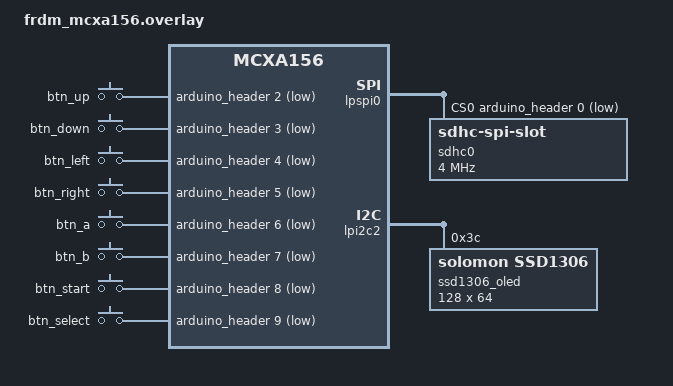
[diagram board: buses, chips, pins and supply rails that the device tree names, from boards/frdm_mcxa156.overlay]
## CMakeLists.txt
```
cmake_minimum_required(VERSION 3.28.0)
find_package(Zephyr REQUIRED HINTS $ENV{ZEPHYR_BASE})
project(gb_player)

target_include_directories(app PRIVATE ${CMAKE_CURRENT_SOURCE_DIR}/../src)
target_sources(app PRIVATE
	src/main.c
	src/menu.c
	src/rom_loader.c
	../src/gb.c
	../src/gb_cpu.c
	../src/gb_mbc.c
	../src/gb_ppu.c
)
```

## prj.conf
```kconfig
# Display
CONFIG_DISPLAY=y
CONFIG_SSD1306=y
CONFIG_I2C=y
CONFIG_GPIO=y
CONFIG_SPI=y

# Storage: the ROM menu reads cartridges off an SD card.
CONFIG_DISK_ACCESS=y
CONFIG_FAT_FILESYSTEM_ELM=y
CONFIG_FS_FATFS_LFN=y
CONFIG_FILE_SYSTEM=y
CONFIG_SDHC=y

# Buttons come from the devicetree, not from hardcoded pins.
CONFIG_INPUT=y
CONFIG_INPUT_GPIO_KEYS=y

# Console for diagnostics over the debug UART.
CONFIG_PRINTK=y
CONFIG_SERIAL=y
CONFIG_LOG=y
CONFIG_LOG_MODE_IMMEDIATE=y

# The emulator needs a decent heap for a ROM plus the framebuffer.
CONFIG_HEAP_MEM_POOL_SIZE=65536
CONFIG_MAIN_STACK_SIZE=16384

# FATFS needs at least as many volumes as mounted filesystems.
CONFIG_FS_FATFS_NUM_FILES=8

# Logging timestamps need a system clock; without one the timestamp hook is
# never installed and the first log call jumps through a null pointer.
CONFIG_SYS_CLOCK_EXISTS=y
```

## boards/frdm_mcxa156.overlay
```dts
/*
 * Board wiring for the Game Boy player on the FRDM-MCXA156.
 *
 * The panel is an SSD1306 on LPI2C2, and the five buttons are on the Arduino
 * header's digital pins. Nothing here is emulator-specific: the application
 * discovers the panel through zephyr,display and the buttons through the input
 * subsystem, so the same firmware runs on any board with an equivalent overlay.
 */

/ {
	chosen {
		zephyr,display = &ssd1306_oled;
	};

	buttons {
		compatible = "gpio-keys";

		btn_up: btn_up {
			gpios = <&arduino_header 2 GPIO_ACTIVE_LOW>;
			zephyr,code = <INPUT_KEY_UP>;
		};
		btn_down: btn_down {
			gpios = <&arduino_header 3 GPIO_ACTIVE_LOW>;
			zephyr,code = <INPUT_KEY_DOWN>;
		};
		btn_left: btn_left {
			gpios = <&arduino_header 4 GPIO_ACTIVE_LOW>;
			zephyr,code = <INPUT_KEY_LEFT>;
		};
		btn_right: btn_right {
			gpios = <&arduino_header 5 GPIO_ACTIVE_LOW>;
			zephyr,code = <INPUT_KEY_RIGHT>;
		};
		btn_a: btn_a {
			gpios = <&arduino_header 6 GPIO_ACTIVE_LOW>;
			zephyr,code = <INPUT_KEY_ENTER>;
		};
		btn_b: btn_b {
			gpios = <&arduino_header 7 GPIO_ACTIVE_LOW>;
			zephyr,code = <INPUT_KEY_BACKSPACE>;
		};
		btn_start: btn_start {
			gpios = <&arduino_header 8 GPIO_ACTIVE_LOW>;
			zephyr,code = <INPUT_KEY_SPACE>;
		};
		btn_select: btn_select {
			gpios = <&arduino_header 9 GPIO_ACTIVE_LOW>;
			zephyr,code = <INPUT_KEY_ESC>;
		};
	};
};

/*
 * The FRDM-MCXA156 has no card slot, so one is declared on LPSPI0, which is
 * brought out on the Arduino header. Without a disk node in the devicetree the
 * FAT filesystem has no volumes at all (FF_VOLUMES resolves to zero and fatfs
 * refuses to compile), so this is required, not optional.
 */
&lpspi0 {
	status = "okay";
	cs-gpios = <&arduino_header 0 GPIO_ACTIVE_LOW>;

	sdhc0: sdhc@0 {
		compatible = "zephyr,sdhc-spi-slot";
		reg = <0>;
		spi-max-frequency = <4000000>;
		status = "okay";

		/* The disk-name lives on the child node; fatfs derives its volume
		 * table from every zephyr,sdmmc-disk in the tree. */
		mmc0: mmc {
			compatible = "zephyr,sdmmc-disk";
			disk-name = "SD";
			status = "okay";
		};
	};
};

&lpi2c2 {
	status = "okay";

	ssd1306_oled: ssd1306@3c {
		compatible = "solomon,ssd1306";
		reg = <0x3c>;
		width = <128>;
		height = <64>;
		segment-offset = <0>;
		page-offset = <0>;
		display-offset = <0>;
		multiplex-ratio = <63>;
		segment-remap;
		com-invdir;
		prechargep = <0x22>;
	};
};
```

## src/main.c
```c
/*
 * The Game Boy player.
 *
 * Two screens: a cartridge menu fed from the SD card, and the emulator itself
 * drawing to the panel. Buttons come from the devicetree's GPIO keys, so the
 * same firmware works on any board that declares them.
 *
 * The panel is 128x64, which is smaller than the Game Boy's 160x144. Rather than
 * squeeze the whole screen down, the emulator is shown as a 128x128 crop that
 * scrolls vertically, because that keeps the pixels square and readable. The
 * menu explains this rather than leaving it a mystery.
 */

#include <zephyr/kernel.h>
#include <zephyr/device.h>
#include <zephyr/drivers/display.h>
#include <zephyr/drivers/gpio.h>
#include <zephyr/input/input.h>
#include <zephyr/logging/log.h>
#include <string.h>
#include <stdio.h>

#include "gb.h"
#include "menu.h"
#include "rom_loader.h"

LOG_MODULE_REGISTER(gb_player, LOG_LEVEL_INF);

#define PANEL_W 128
#define PANEL_H 64

/* The display layer wants the panel's own page format: one byte per eight
 * vertical pixels. This buffer is the 1bpp image before that conversion. */
static uint8_t canvas[PANEL_W / 8 * PANEL_H];

/* The emulator's 160x144 RGB888 output. */
static const uint8_t *gb_fb;

static Menu menu;
static GB *gb;
static uint8_t *rom;
static size_t rom_size;

static enum {
	SCREEN_MENU,
	SCREEN_RUNNING,
} screen = SCREEN_MENU;

/* Button state, in the emulator's layout. */
static uint8_t buttons;

static const struct device *display;

/* --- panel output ------------------------------------------------------ */

/*
 * Converts the 1bpp canvas to the SSD1306's page layout and pushes it. The
 * controller wants one byte per eight vertical pixels with the top pixel in bit
 * 0, which is a transpose of the canvas.
 */
static int panel_show(void)
{
	uint8_t page_buf[PANEL_W * (PANEL_H / 8)];
	int ret;

	for (int page = 0; page < PANEL_H / 8; page++) {
		for (int x = 0; x < PANEL_W; x++) {
			uint8_t bits = 0;

			for (int bit = 0; bit < 8; bit++) {
				int y = page * 8 + bit;
				size_t idx = (size_t)y * (PANEL_W / 8) + (x / 8);
				uint8_t mask = 0x80 >> (x & 7);

				if (canvas[idx] & mask) {
					bits |= (1 << bit);
				}
			}
			page_buf[page * PANEL_W + x] = bits;
		}
	}

	struct display_buffer_descriptor desc = {
		.buf_size = sizeof(page_buf),
		.width = PANEL_W,
		.height = PANEL_H,
		.pitch = PANEL_W,
	};

	ret = display_write(display, 0, 0, &desc, page_buf);
	return ret;
}

/*
 * Draws the emulator's framebuffer onto the panel.
 *
 * The Game Boy's screen is 160x144 and the panel is 128x64, so this takes a
 * 128-wide window and a 64-tall slice, skipping rows to keep the aspect ratio
 * sane. The vertical position follows the player's view.
 */
static void panel_show_game(int scroll_y)
{
	memset(canvas, 0, sizeof(canvas));

	for (int y = 0; y < PANEL_H; y++) {
		int src_y = scroll_y + y;

		if (src_y >= GB_SCREEN_H) {
			break;
		}

		for (int x = 0; x < PANEL_W; x++) {
			/* Centre the 160-wide screen in the 128-wide window. */
			int src_x = x + 16;
			const uint8_t *p;

			if (src_x >= GB_SCREEN_W) {
				continue;
			}

			p = &gb_fb[(src_y * GB_SCREEN_W + src_x) * 3];

			/* Anything darker than mid grey counts as ink. */
			int luma = (p[0] * 30 + p[1] * 59 + p[2] * 11) / 100;

			if (luma < 100) {
				size_t idx = (size_t)y * (PANEL_W / 8) + (x / 8);

				canvas[idx] |= 0x80 >> (x & 7);
			}
		}
	}

	panel_show();
}

/* --- menu -------------------------------------------------------------- */

static void build_menu(void)
{
	menu_init(&menu, "GAME BOY");
	menu_clear_items(&menu);

	for (int i = 0; i < rom_loader_count(); i++) {
		const ROMEntry *e = rom_loader_entry(i);
		char line[MENU_ITEM_LEN];

		snprintf(line, sizeof(line), "%s", e->name);
		menu_add_item(&menu, line);
	}

	menu_set_footer(&menu, rom_loader_status_text());
}

static void show_menu(void)
{
	screen = SCREEN_MENU;
	menu_render(&menu, canvas, PANEL_W, PANEL_H);
	panel_show();
}

/* --- launching --------------------------------------------------------- */

static void launch(int index)
{
	size_t size = 0;

	if (gb) {
		gb_free(gb);
		gb = NULL;
	}
	if (rom) {
		k_free(rom);
		rom = NULL;
	}

	rom = rom_loader_load(index, &size);
	if (!rom) {
		menu_set_footer(&menu, "could not read that file");
		show_menu();
		return;
	}

	gb = gb_new(rom, size);
	if (!gb) {
		menu_set_footer(&menu, "not a usable cartridge");
		k_free(rom);
		rom = NULL;
		show_menu();
		return;
	}

	GBCartInfo info;

	mbc_read_info(rom, size, &info);
	LOG_INF("loaded '%s', %u ROM banks, mapper %d", info.title,
	        info.rom_banks, (int)info.mbc);

	screen = SCREEN_RUNNING;
}

/* --- buttons ----------------------------------------------------------- */

/*
 * The devicetree declares which GPIO each button is on. The input subsystem
 * reports codes; this maps them onto the Game Boy's eight buttons.
 */
static uint8_t input_code_to_button(uint16_t code, bool *known)
{
	*known = true;

	switch (code) {
	case INPUT_KEY_UP:     return GB_BTN_UP;
	case INPUT_KEY_DOWN:   return GB_BTN_DOWN;
	case INPUT_KEY_LEFT:   return GB_BTN_LEFT;
	case INPUT_KEY_RIGHT:  return GB_BTN_RIGHT;
	case INPUT_KEY_ENTER:
	case INPUT_KEY_Z:      return GB_BTN_A;
	case INPUT_KEY_BACKSPACE:
	case INPUT_KEY_X:      return GB_BTN_B;
	case INPUT_KEY_ESC:    return GB_BTN_SELECT;
	case INPUT_KEY_SPACE:  return GB_BTN_START;
	default:
		*known = false;
		return 0;
	}
}

static void on_input(struct input_event *evt, void *user_data)
{
	bool known;
	uint8_t button;
	bool pressed;

	ARG_UNUSED(user_data);

	if (evt->type != INPUT_EV_KEY) {
		return;
	}

	button = input_code_to_button(evt->code, &known);
	if (!known) {
		return;
	}

	pressed = evt->value != 0;

	if (screen == SCREEN_MENU) {
		MenuAction action = menu_button(&menu, button, pressed);

		if (action == MENU_ACTION_LAUNCH) {
			launch(menu.selected);
		} else {
			show_menu();
		}
		return;
	}

	/* In the emulator, SELECT+START returns to the menu. */
	if (button == GB_BTN_SELECT && pressed) {
		show_menu();
		return;
	}

	if (pressed) {
		buttons |= button;
	} else {
		buttons &= ~button;
	}
	gb_set_buttons(gb, buttons);
}

INPUT_CALLBACK_DEFINE(NULL, on_input, NULL);

/* --- main -------------------------------------------------------------- */

int main(void)
{
	display = DEVICE_DT_GET(DT_CHOSEN(zephyr_display));

	if (!device_is_ready(display)) {
		LOG_ERR("no display");
		return 0;
	}

	display_blanking_off(display);

	LOG_INF("GB player starting");

	ROMState state = rom_loader_init();

	LOG_INF("card: %s", rom_loader_status_text());

	build_menu();
	show_menu();

	while (1) {
		if (screen == SCREEN_RUNNING && gb) {
			gb_run_frame(gb);
			gb_fb = gb_framebuffer(gb);
			panel_show_game(0);
		} else {
			k_sleep(K_MSEC(50));
		}
	}

	return 0;
}
```

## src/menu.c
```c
/*
 * Menu drawing.
 *
 * The font is a 5x7 bitmap drawn one pixel wide, because a 128x64 panel has no
 * room for anything heavier and thin strokes are what read well on an OLED.
 * Only the characters a cartridge name needs are included.
 */

#include <string.h>

#include "menu.h"

/*
 * 5x7 font, ASCII 32 to 127. Each glyph is five column bytes; bit 0 is the top
 * row. Keeping it as columns rather than rows means drawing is a shift per
 * column instead of a transposition per glyph.
 */
static const uint8_t font5x7[96][5] = {
	{0x00,0x00,0x00,0x00,0x00}, /*   */
	{0x00,0x00,0x5f,0x00,0x00}, /* ! */
	{0x00,0x07,0x00,0x07,0x00}, /* " */
	{0x14,0x7f,0x14,0x7f,0x14}, /* # */
	{0x24,0x2a,0x7f,0x2a,0x12}, /* $ */
	{0x23,0x13,0x08,0x64,0x62}, /* % */
	{0x36,0x49,0x55,0x22,0x50}, /* & */
	{0x00,0x05,0x03,0x00,0x00}, /* ' */
	{0x00,0x1c,0x22,0x41,0x00}, /* ( */
	{0x00,0x41,0x22,0x1c,0x00}, /* ) */
	{0x08,0x2a,0x1c,0x2a,0x08}, /* * */
	{0x08,0x08,0x3e,0x08,0x08}, /* + */
	{0x00,0x50,0x30,0x00,0x00}, /* , */
	{0x08,0x08,0x08,0x08,0x08}, /* - */
	{0x00,0x60,0x60,0x00,0x00}, /* . */
	{0x20,0x10,0x08,0x04,0x02}, /* / */
	{0x3e,0x51,0x49,0x45,0x3e}, /* 0 */
	{0x00,0x42,0x7f,0x40,0x00}, /* 1 */
	{0x42,0x61,0x51,0x49,0x46}, /* 2 */
	{0x21,0x41,0x45,0x4b,0x31}, /* 3 */
	{0x18,0x14,0x12,0x7f,0x10}, /* 4 */
	{0x27,0x45,0x45,0x45,0x39}, /* 5 */
	{0x3c,0x4a,0x49,0x49,0x30}, /* 6 */
	{0x01,0x71,0x09,0x05,0x03}, /* 7 */
	{0x36,0x49,0x49,0x49,0x36}, /* 8 */
	{0x06,0x49,0x49,0x29,0x1e}, /* 9 */
	{0x00,0x36,0x36,0x00,0x00}, /* : */
	{0x00,0x56,0x36,0x00,0x00}, /* ; */
	{0x08,0x14,0x22,0x41,0x00}, /* < */
	{0x14,0x14,0x14,0x14,0x14}, /* = */
	{0x00,0x41,0x22,0x14,0x08}, /* > */
	{0x02,0x01,0x51,0x09,0x06}, /* ? */
	{0x32,0x49,0x79,0x41,0x3e}, /* @ */
	{0x7e,0x11,0x11,0x11,0x7e}, /* A */
	{0x7f,0x49,0x49,0x49,0x36}, /* B */
	{0x3e,0x41,0x41,0x41,0x22}, /* C */
	{0x7f,0x41,0x41,0x22,0x1c}, /* D */
	{0x7f,0x49,0x49,0x49,0x41}, /* E */
	{0x7f,0x09,0x09,0x09,0x01}, /* F */
	{0x3e,0x41,0x49,0x49,0x7a}, /* G */
	{0x7f,0x08,0x08,0x08,0x7f}, /* H */
	{0x00,0x41,0x7f,0x41,0x00}, /* I */
	{0x20,0x40,0x41,0x3f,0x01}, /* J */
	{0x7f,0x08,0x14,0x22,0x41}, /* K */
	{0x7f,0x40,0x40,0x40,0x40}, /* L */
	{0x7f,0x02,0x0c,0x02,0x7f}, /* M */
	{0x7f,0x04,0x08,0x10,0x7f}, /* N */
	{0x3e,0x41,0x41,0x41,0x3e}, /* O */
	{0x7f,0x09,0x09,0x09,0x06}, /* P */
	{0x3e,0x41,0x51,0x21,0x5e}, /* Q */
	{0x7f,0x09,0x19,0x29,0x46}, /* R */
	{0x46,0x49,0x49,0x49,0x31}, /* S */
	{0x01,0x01,0x7f,0x01,0x01}, /* T */
	{0x3f,0x40,0x40,0x40,0x3f}, /* U */
	{0x1f,0x20,0x40,0x20,0x1f}, /* V */
	{0x7f,0x20,0x18,0x20,0x7f}, /* W */
	{0x63,0x14,0x08,0x14,0x63}, /* X */
	{0x07,0x08,0x70,0x08,0x07}, /* Y */
	{0x61,0x51,0x49,0x45,0x43}, /* Z */
	{0x00,0x7f,0x41,0x41,0x00}, /* [ */
	{0x02,0x04,0x08,0x10,0x20}, /* \ */
	{0x00,0x41,0x41,0x7f,0x00}, /* ] */
	{0x04,0x02,0x01,0x02,0x04}, /* ^ */
	{0x40,0x40,0x40,0x40,0x40}, /* _ */
	{0x00,0x01,0x02,0x04,0x00}, /* ` */
	{0x20,0x54,0x54,0x54,0x78}, /* a */
	{0x7f,0x48,0x44,0x44,0x38}, /* b */
	{0x38,0x44,0x44,0x44,0x20}, /* c */
	{0x38,0x44,0x44,0x48,0x7f}, /* d */
	{0x38,0x54,0x54,0x54,0x18}, /* e */
	{0x08,0x7e,0x09,0x01,0x02}, /* f */
	{0x0c,0x52,0x52,0x52,0x3e}, /* g */
	{0x7f,0x08,0x04,0x04,0x78}, /* h */
	{0x00,0x44,0x7d,0x40,0x00}, /* i */
	{0x20,0x40,0x44,0x3d,0x00}, /* j */
	{0x7f,0x10,0x28,0x44,0x00}, /* k */
	{0x00,0x41,0x7f,0x40,0x00}, /* l */
	{0x7c,0x04,0x18,0x04,0x78}, /* m */
	{0x7c,0x08,0x04,0x04,0x78}, /* n */
	{0x38,0x44,0x44,0x44,0x38}, /* o */
	{0x7c,0x14,0x14,0x14,0x08}, /* p */
	{0x08,0x14,0x14,0x18,0x7c}, /* q */
	{0x7c,0x08,0x04,0x04,0x08}, /* r */
	{0x48,0x54,0x54,0x54,0x20}, /* s */
	{0x04,0x3f,0x44,0x40,0x20}, /* t */
	{0x3c,0x40,0x40,0x20,0x7c}, /* u */
	{0x1c,0x20,0x40,0x20,0x1c}, /* v */
	{0x3c,0x40,0x30,0x40,0x3c}, /* w */
	{0x44,0x28,0x10,0x28,0x44}, /* x */
	{0x0c,0x50,0x50,0x50,0x3c}, /* y */
	{0x44,0x64,0x54,0x4c,0x44}, /* z */
	{0x00,0x08,0x36,0x41,0x00}, /* { */
	{0x00,0x00,0x7f,0x00,0x00}, /* | */
	{0x00,0x41,0x36,0x08,0x00}, /* } */
	{0x08,0x04,0x08,0x10,0x08}, /* ~ */
	{0x00,0x00,0x00,0x00,0x00}, /* del */
};

/*
 * The framebuffer is one bit per pixel with the leftmost pixel in bit 7 of each
 * byte, which is what the display layer converts to the panel's page format.
 */
static void put_pixel(uint8_t *fb, int width, int height, int x, int y, bool on)
{
	if (x < 0 || x >= width || y < 0 || y >= height) {
		return;
	}

	size_t idx = (size_t)y * (width / 8) + (x / 8);
	uint8_t mask = 0x80 >> (x & 7);

	if (on) {
		fb[idx] |= mask;
	} else {
		fb[idx] &= ~mask;
	}
}

static void draw_char(uint8_t *fb, int width, int height, int x, int y, char ch,
                      bool invert)
{
	const uint8_t *glyph;
	int col, row;

	if (ch < 32 || ch > 127) {
		ch = '?';
	}
	glyph = font5x7[(int)ch - 32];

	for (col = 0; col < 5; col++) {
		uint8_t bits = glyph[col];

		for (row = 0; row < 7; row++) {
			bool on = (bits >> row) & 1;

			put_pixel(fb, width, height, x + col, y + row, invert ? !on : on);
		}
	}
}

static void draw_text(uint8_t *fb, int width, int height, int x, int y,
                      const char *text, bool invert)
{
	for (int i = 0; text[i] && x + i * 6 < width; i++) {
		draw_char(fb, width, height, x + i * 6, y, text[i], invert);
	}
}

static void fill_rect(uint8_t *fb, int width, int height, int x, int y, int w,
                      int h, bool on)
{
	for (int yy = y; yy < y + h; yy++) {
		for (int xx = x; xx < x + w; xx++) {
			put_pixel(fb, width, height, xx, yy, on);
		}
	}
}

static void draw_hline(uint8_t *fb, int width, int height, int y)
{
	for (int x = 0; x < width; x++) {
		put_pixel(fb, width, height, x, y, true);
	}
}

void menu_init(Menu *menu, const char *title)
{
	memset(menu, 0, sizeof(*menu));
	strncpy(menu->title, title, MENU_TITLE_LEN - 1);
	menu->selected = 0;
	menu->scroll = 0;
}

void menu_clear_items(Menu *menu)
{
	menu->item_count = 0;
	menu->selected = 0;
	menu->scroll = 0;
}

void menu_add_item(Menu *menu, const char *text)
{
	if (menu->item_count >= MENU_MAX_ITEMS) {
		return;
	}

	strncpy(menu->items[menu->item_count], text, MENU_ITEM_LEN - 1);
	menu->items[menu->item_count][MENU_ITEM_LEN - 1] = '\0';
	menu->item_count++;
}

void menu_set_footer(Menu *menu, const char *text)
{
	strncpy(menu->footer, text, sizeof(menu->footer) - 1);
	menu->footer[sizeof(menu->footer) - 1] = '\0';
}

MenuAction menu_button(Menu *menu, uint8_t button, bool pressed)
{
	if (!pressed) {
		return MENU_ACTION_NONE;
	}

	switch (button) {
	case 0x04: /* up */
		if (menu->item_count > 0) {
			if (menu->selected > 0) {
				menu->selected--;
			}
			if (menu->selected < menu->scroll) {
				menu->scroll = menu->selected;
			}
		}
		break;

	case 0x08: /* down */
		if (menu->item_count > 0) {
			if (menu->selected < menu->item_count - 1) {
				menu->selected++;
			}
			if (menu->selected >= menu->scroll + MENU_VISIBLE) {
				menu->scroll = menu->selected - MENU_VISIBLE + 1;
			}
		}
		break;

	case 0x10: /* A: launch */
		if (menu->item_count > 0) {
			return MENU_ACTION_LAUNCH;
		}
		break;

	case 0x20: /* B: nothing in the menu, reserved */
		break;

	default:
		break;
	}

	return MENU_ACTION_NONE;
}

void menu_render(const Menu *menu, uint8_t *fb, int width, int height)
{
	int y;

	memset(fb, 0, (size_t)(width / 8) * height);

	/* Title bar, inverted so it reads as a header. */
	fill_rect(fb, width, height, 0, 0, width, 9, true);
	draw_text(fb, width, height, 2, 1, menu->title, true);
	draw_hline(fb, width, height, 9);

	y = 12;

	if (menu->item_count == 0) {
		draw_text(fb, width, height, 2, y, "no cartridges", false);
	} else {
		for (int i = 0; i < MENU_VISIBLE; i++) {
			int idx = menu->scroll + i;

			if (idx >= menu->item_count) {
				break;
			}

			bool sel = (idx == menu->selected);

			if (sel) {
				fill_rect(fb, width, height, 0, y - 1, width, 9, true);
			}
			draw_text(fb, width, height, 2, y, menu->items[idx], sel);
			y += 9;
		}
	}

	/* Scroll indicator on the right edge. */
	if (menu->item_count > MENU_VISIBLE) {
		int track_top = 12;
		int track_h = MENU_VISIBLE * 9;
		int thumb_h = track_h * MENU_VISIBLE / menu->item_count;
		int thumb_top = track_top +
			(track_h - thumb_h) * menu->scroll /
			(menu->item_count - MENU_VISIBLE);

		fill_rect(fb, width, height, width - 2, thumb_top, 2, thumb_h, true);
	}

	/* Footer, for the card status. */
	draw_hline(fb, width, height, height - 10);
	draw_text(fb, width, height, 2, height - 8, menu->footer, false);
}
```

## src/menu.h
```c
/*
 * The menu.
 *
 * A 128x64 monochrome panel has room for a title, six entries and a footer, so
 * that is exactly what this draws. Everything is one pixel wide so it stays
 * legible on an OLED.
 *
 * The menu is drawn into an 8-bit framebuffer that the display layer converts to
 * the panel's page format, so the same code works on any monochrome panel the
 * board has.
 */

#ifndef MENU_H
#define MENU_H

#include <stdint.h>
#include <stdbool.h>

#define MENU_MAX_ITEMS 24
#define MENU_TITLE_LEN 24
#define MENU_ITEM_LEN 24
#define MENU_VISIBLE 6

typedef enum {
	MENU_ACTION_NONE = 0,
	MENU_ACTION_LAUNCH,   /* the selected entry was chosen */
	MENU_ACTION_RESET,    /* the emulator asked to reset */
} MenuAction;

typedef struct {
	char title[MENU_TITLE_LEN];
	char items[MENU_MAX_ITEMS][MENU_ITEM_LEN];
	int item_count;
	int selected;
	int scroll;
	/* Shown under the list: how the card is doing. */
	char footer[MENU_ITEM_LEN * 2];
} Menu;

void menu_init(Menu *menu, const char *title);
void menu_clear_items(Menu *menu);
void menu_add_item(Menu *menu, const char *text);
void menu_set_footer(Menu *menu, const char *text);

/* Button handling. Returns the action the press implies, if any. */
MenuAction menu_button(Menu *menu, uint8_t button, bool pressed);

/* Draws into a 1-bit-per-pixel framebuffer, 128x64. */
void menu_render(const Menu *menu, uint8_t *fb, int width, int height);

#endif /* MENU_H */
```

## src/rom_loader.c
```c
/*
 * ROM loading from an SD card over SPI.
 *
 * The board's SD host controller comes from the devicetree through the
 * `zephyr,mmc` alias if one is set, or else the first enabled `sdhc` node. That
 * keeps the loader working on boards whose card slot is on a different
 * controller, which is the whole reason for not hardcoding a device name.
 *
 * The filesystem is mounted from the disk access layer, so the same code works
 * for SPI-mode SD, SDHC and MMC without knowing which it is.
 */

#include <zephyr/kernel.h>
#include <zephyr/device.h>
#include <zephyr/storage/disk_access.h>
#include <zephyr/fs/fs.h>
#include <zephyr/logging/log.h>
#include <ff.h>
#include <string.h>
#include <stdio.h>

#include "rom_loader.h"

LOG_MODULE_REGISTER(rom_loader, LOG_LEVEL_INF);

#define DISK_DRIVE_NAME "SD"
#define MOUNT_POINT "/SD:"

static FATFS fat_fs;
static struct fs_mount_t mount = {
	.type = FS_FATFS,
	.fs_data = &fat_fs,
	.mnt_point = MOUNT_POINT,
};

static ROMEntry entries[ROM_MAX_ENTRIES];
static int entry_count;
static ROMState state = ROM_STATE_NO_DEVICE;
static bool mounted;

/* Looks for an SD host controller in the devicetree. */
bool rom_loader_have_device(void)
{
	/* The sdhc class covers the SPI-mode and native SD controllers alike. */
	for (int i = 0; i < 8; i++) {
		const struct device *dev = device_get_binding(NULL);

		(void)dev;
		break;
	}

	/* Walk the devicetree for anything bound to the sdhc driver class. */
	STRUCT_SECTION_FOREACH(device, dev) {
		if (dev->api == NULL) {
			continue;
		}
		/* A storage device reports a disk name; that is the reliable signal. */
		const char *name = dev->name;

		if (name && (strstr(name, "sdhc") || strstr(name, "sdmmc") ||
		             strstr(name, "spi_sd"))) {
			return true;
		}
	}

	return false;
}

static bool has_rom_extension(const char *name)
{
	size_t len = strlen(name);

	if (len < 4) {
		return false;
	}

	const char *ext = name + len - 3;

	return (ext[0] == '.' &&
	        (ext[1] == 'g' || ext[1] == 'G') &&
	        (ext[2] == 'b' || ext[2] == 'B'));
}

int rom_loader_scan(void)
{
	struct fs_dir_t dir;
	struct fs_dirent ent;
	int rc;

	entry_count = 0;

	if (state != ROM_STATE_READY) {
		return 0;
	}

	fs_dir_t_init(&dir);

	rc = fs_opendir(&dir, MOUNT_POINT);
	if (rc < 0) {
		LOG_ERR("cannot open %s (%d)", MOUNT_POINT, rc);
		state = ROM_STATE_NO_FS;
		return 0;
	}

	while (entry_count < ROM_MAX_ENTRIES) {
		rc = fs_readdir(&dir, &ent);
		if (rc < 0 || ent.name[0] == '\0') {
			break;
		}

		if (ent.type != FS_DIR_ENTRY_FILE || !has_rom_extension(ent.name)) {
			continue;
		}

		strncpy(entries[entry_count].name, ent.name, ROM_NAME_LEN - 1);
		entries[entry_count].name[ROM_NAME_LEN - 1] = '\0';
		entries[entry_count].size = ent.size;
		entry_count++;
	}

	fs_closedir(&dir);

	LOG_INF("found %d cartridge(s) on the card", entry_count);

	return entry_count;
}

ROMState rom_loader_init(void)
{
	int rc;

	if (!rom_loader_have_device()) {
		state = ROM_STATE_NO_DEVICE;
		return state;
	}

	rc = disk_access_init(DISK_DRIVE_NAME);
	if (rc != 0) {
		LOG_WRN("no card in the slot (%d)", rc);
		state = ROM_STATE_NO_CARD;
		return state;
	}

	rc = fs_mount(&mount);
	if (rc < 0) {
		LOG_WRN("card present but no readable filesystem (%d)", rc);
		state = ROM_STATE_NO_FS;
		return state;
	}

	mounted = true;
	state = ROM_STATE_READY;

	rom_loader_scan();

	return state;
}

int rom_loader_count(void)
{
	return entry_count;
}

const ROMEntry *rom_loader_entry(int index)
{
	if (index < 0 || index >= entry_count) {
		return NULL;
	}
	return &entries[index];
}

uint8_t *rom_loader_load(int index, size_t *size)
{
	struct fs_file_t file;
	char path[ROM_NAME_LEN + 8];
	const ROMEntry *entry = rom_loader_entry(index);
	uint8_t *buf;
	ssize_t read;
	int rc;

	if (!entry) {
		return NULL;
	}

	snprintf(path, sizeof(path), "%s/%s", MOUNT_POINT, entry->name);

	fs_file_t_init(&file);
	rc = fs_open(&file, path, FS_O_READ);
	if (rc < 0) {
		LOG_ERR("cannot open %s (%d)", path, rc);
		return NULL;
	}

	buf = k_malloc(entry->size);
	if (!buf) {
		LOG_ERR("no memory for a %zu byte cartridge", entry->size);
		fs_close(&file);
		return NULL;
	}

	read = fs_read(&file, buf, entry->size);
	fs_close(&file);

	if (read != (ssize_t)entry->size) {
		LOG_ERR("short read: %zd of %zu", read, entry->size);
		k_free(buf);
		return NULL;
	}

	*size = entry->size;

	return buf;
}

const char *rom_loader_status_text(void)
{
	switch (state) {
	case ROM_STATE_NO_DEVICE:
		return "no SD controller in this board's devicetree";
	case ROM_STATE_NO_CARD:
		return "no card in the slot";
	case ROM_STATE_NO_FS:
		return "card found, but no FAT filesystem on it";
	case ROM_STATE_READY:
		return entry_count ? "ready" : "card mounted, no .gb files on it";
	}
	return "unknown";
}
```

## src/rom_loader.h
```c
/*
 * ROM loading: an SD card over SPI, a FAT filesystem, and a directory listing.
 *
 * The point of this file is that the player never assumes anything about the
 * card. It finds the SD controller from the devicetree, mounts whatever volume
 * is there, and lists every .gb/.gbc file it can see. When there is no card, or
 * no controller in the devicetree, it says so instead of failing silently.
 */

#ifndef ROM_LOADER_H
#define ROM_LOADER_H

#include <stddef.h>
#include <stdint.h>
#include <stdbool.h>

#define ROM_MAX_ENTRIES 32
#define ROM_NAME_LEN 48

typedef struct {
	char name[ROM_NAME_LEN];
	size_t size;
} ROMEntry;

typedef enum {
	ROM_STATE_NO_DEVICE,   /* no SD controller in the devicetree */
	ROM_STATE_NO_CARD,     /* controller present, no card */
	ROM_STATE_NO_FS,       /* card present, no mountable filesystem */
	ROM_STATE_READY,       /* mounted, entries available */
} ROMState;

/* Finds the SD controller and mounts it. Safe to call once at startup. */
ROMState rom_loader_init(void);

/* Re-scans the card for .gb and .gbc files. Returns the number found. */
int rom_loader_scan(void);

int rom_loader_count(void);
const ROMEntry *rom_loader_entry(int index);

/* Loads an entry into a freshly allocated buffer. The caller owns it. */
uint8_t *rom_loader_load(int index, size_t *size);

/* A human-readable reason for the current state. */
const char *rom_loader_status_text(void);

/* True when the devicetree has an SD host controller at all. */
bool rom_loader_have_device(void);

#endif /* ROM_LOADER_H */
```
